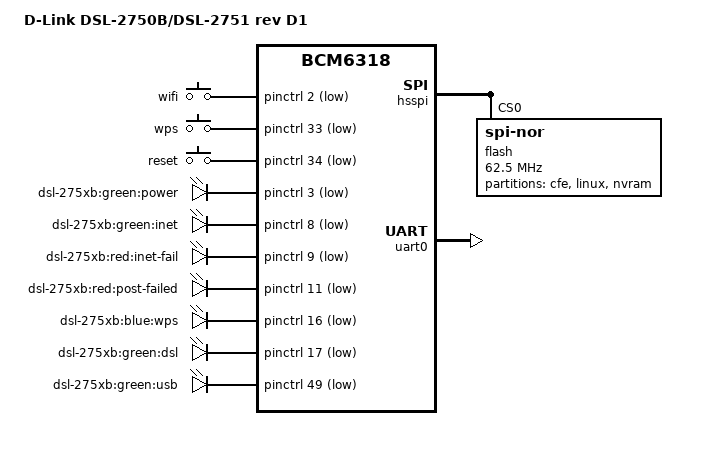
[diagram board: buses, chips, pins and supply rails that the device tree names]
/dts-v1/;

#include "bcm6318.dtsi"

#include <dt-bindings/input/input.h>

/ {
	model = "D-Link DSL-2750B/DSL-2751 rev D1";
	compatible = "d-link,dsl-275xb-d", "brcm,bcm6318";

	chosen {
		bootargs = "rootfstype=squashfs,jffs2 noinitrd console=ttyS0,115200";
		stdout-path = "serial0:115200n8";
	};

	gpio-keys-polled {
		compatible = "gpio-keys-polled";
		#address-cells = <1>;
		#size-cells = <0>;
		poll-interval = <20>;
		debounce-interval = <60>;

		wifi {
			label = "wifi";
			gpios = <&pinctrl 2 1>;
			linux,code = <KEY_WLAN>;
		};

		wps {
			label = "wps";
			gpios = <&pinctrl 33 1>;
			linux,code = <KEY_WPS_BUTTON>;
		};

		reset {
			label = "reset";
			gpios = <&pinctrl 34 1>;
			linux,code = <KEY_RESTART>;
		};
	};

	gpio-leds {
		compatible = "gpio-leds";

		power_green {
			label = "dsl-275xb:green:power";
			gpios = <&pinctrl 3 1>;
			default-state = "on";
		};

		inet_green {
			label = "dsl-275xb:green:inet";
			gpios = <&pinctrl 8 1>;
		};

		inet_red {
			label = "dsl-275xb:red:inet-fail";
			gpios = <&pinctrl 9 1>;
		};

		power_red {
			label = "dsl-275xb:red:post-failed";
			gpios = <&pinctrl 11 1>;
		};

		wps_blue {
			label = "dsl-275xb:blue:wps";
			gpios = <&pinctrl 16 1>;
		};

		dsl_green {
			label = "dsl-275xb:green:dsl";
			gpios = <&pinctrl 17 1>;
		};

		usb_green {
			/* not user controllable? */
			label = "dsl-275xb:green:usb";
			gpios = <&pinctrl 49 1>;
		};
	};
};

&hsspi {
	status = "ok";

	flash@0 {
		compatible = "jedec,spi-nor";
		spi-max-frequency = <62500000>;
		spi-tx-bus-width = <2>;
		spi-rx-bus-width = <2>;
		reg = <0>;

		#address-cells = <1>;
		#size-cells = <1>;

		partitions {
			compatible = "fixed-partitions";
			#address-cells = <1>;
			#size-cells = <1>;

			cfe@0 {
				reg = <0x000000 0x010000>;
				label = "cfe";
				read-only;
			};

			linux@10000 {
				reg = <0x010000 0x7e0000>;
				label = "linux";
				compatible = "brcm,bcm963xx-imagetag";
			};

			nvram@7f0000 {
				reg = <0x7f0000 0x010000>;
				label = "nvram";
			};
		};
	};
};

&pinctrl {
	pinctrl-names = "default";

	pinctrl-0 = <&pinctrl_ephy0_act_led &pinctrl_ephy1_act_led
		     &pinctrl_ephy2_act_led &pinctrl_ephy3_act_led>;
};

&uart0 {
	status = "ok";
};
